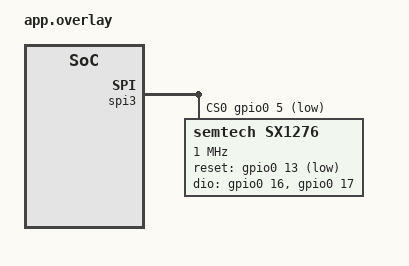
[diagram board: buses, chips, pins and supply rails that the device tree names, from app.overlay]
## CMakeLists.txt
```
# SPDX-License-Identifier: Apache-2.0

cmake_minimum_required(VERSION 3.28.0)

list(APPEND EXTRA_ZEPHYR_MODULES
  ${CMAKE_CURRENT_SOURCE_DIR}/../../modules/libloris/
)

find_package(Zephyr REQUIRED HINTS $ENV{ZEPHYR_BASE})

project(
  loris_lw
  VERSION 1.0
  DESCRIPTION "loris LoRaWAN sample"
  LANGUAGES C
)


target_sources(app PRIVATE src/main.c)
```

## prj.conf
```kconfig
CONFIG_GPIO=y

CONFIG_ZMS=y
CONFIG_FLASH=y
CONFIG_FLASH_MAP=y

CONFIG_LOG=y
CONFIG_LOG_MAX_LEVEL=4
CONFIG_LOG_DEFAULT_LEVEL=3

CONFIG_LORA=y
CONFIG_LORAWAN=y
CONFIG_LORAWAN_SYSTEM_MAX_RX_ERROR=100
CONFIG_LORAWAN_REGION_EU868=y

CONFIG_LORIS=y

CONFIG_MAIN_STACK_SIZE=4096
CONFIG_SYSTEM_WORKQUEUE_STACK_SIZE=4096
```

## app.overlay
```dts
/ {
  aliases {
    lora0 = &sx1276;
  };
};

&spi3 {
  status = "okay";
  cs-gpios = <&gpio0 5 (GPIO_ACTIVE_LOW | GPIO_PULL_UP)>;

  sx1276: lora@0 {
    compatible = "semtech,sx1276";
    reg = <0>;

    reset-gpios = <&gpio0 13 GPIO_ACTIVE_LOW>;

    // order of dio pins matters - idx 0 -> DIO0, idx 1 -> DIO1 and so on
    dio-gpios = <&gpio0 16 (GPIO_PULL_DOWN | GPIO_ACTIVE_HIGH)>,
      <&gpio0 17 (GPIO_PULL_DOWN | GPIO_ACTIVE_HIGH)>;
    spi-max-frequency = <1000000>;
    power-amplifier-output = "pa-boost";
  };
};
```

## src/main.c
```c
/*
 * Copyright (c) 2026 Tomasz Gadziński
 *
 * SPDX-License-Identifier: MIT
 */
#include <zephyr/logging/log.h>
#include <zephyr/lorawan/lorawan.h>

#include "loris/lorawan.h"

#define LORAWAN_DEV_EUI { 0x5b, 0xd1, 0x3f, 0x6a, 0xd9, 0x5e, 0xe2, 0x1c }
#define LORAWAN_JOIN_EUI { 0x52, 0xf1, 0xcc, 0xb8, 0x84, 0xf6, 0xdc, 0x7c }
#define LORAWAN_APP_KEY                                                        \
  { 0xd9, 0xc7, 0xae, 0xd4, 0x2c, 0x8e, 0x86, 0xed,                            \
    0x21, 0x8e, 0x13, 0xf3, 0x3f, 0x86, 0xeb, 0x38 }

LOG_MODULE_REGISTER(lorawan_main_test);

#define DUTYCYCLE_REST_SECONDS 120
#define REJOIN_RETRY_SECONDS 5
#define MSG_TIMER_SECONDS 360

char data[] = "Hello from the loris LoRaWAN test!";

static void dl_callback(
    uint8_t port,
    uint8_t flags,
    int16_t rssi,
    int8_t snr,
    uint8_t len,
    const uint8_t* hex_data
) {
  LOG_INF("Port %d, RSSI %ddB, SNR %ddBm", port, rssi, snr);

  if (flags & LORAWAN_TIME_UPDATED) {
    /* The stack has synced the network time from a DeviceTimeAns. */
    LOG_INF("Network time updated");
  }

  if (flags & LORAWAN_DATA_PENDING) {
    /* The network server has more downlinks queued.  An application
     * that wants to drain them promptly can schedule another uplink
     * (e.g. an empty one on any port) here.
     */
    LOG_INF("Network reports more data pending (FPending set)");
  }

  if (hex_data) {
    LOG_HEXDUMP_INF(hex_data, len, "Payload: ");
  }
}

static void datarate_changed_cb(enum lorawan_datarate dr) {
  uint8_t unused, max_size;

  lorawan_get_payload_sizes(&unused, &max_size);
  LOG_INF("New Datarate: DR_%d, Max Payload %d", dr, max_size);
}

static void link_check_ans_cb(uint8_t demod_margin, uint8_t nb_gateways) {
  LOG_INF("Link check: margin %u dB, %u gateway(s)", demod_margin, nb_gateways);
}

void send_countdown(int countdown_secs) {
  char spinner[] = { '|', '/', '-', '\\' };
  for (int i = 0; i < countdown_secs; i++) {
    size_t idx = i % (sizeof(spinner) / sizeof(spinner[0]));
    printf(
        "[%c] Sending another message in %3i seconds\r",
        spinner[idx],
        countdown_secs - i
    );
    k_sleep(K_SECONDS(1));
  }
}

int main() {
  struct lorawan_downlink_cb dl_cb = { 0 };
  lr_lw_register_downlink_callback(&dl_cb, &dl_callback);
  lr_lw_register_dr_changed_callback(&datarate_changed_cb);
  lr_lw_register_link_check_ans_callback(&link_check_ans_cb);

  uint8_t dev_eui[] = LORAWAN_DEV_EUI;
  uint8_t join_eui[] = LORAWAN_JOIN_EUI;
  uint8_t app_key[] = LORAWAN_APP_KEY;

  lr_lw_join_otaa_config_t cfg = {
    .dev_eui = dev_eui,
    .join_eui = join_eui,
    .app_key = app_key,
    .nwk_key = app_key,
  };

  while (lr_lw_join_otaa(&cfg, LORAWAN_REGION_EU868) != LR_LW_OK) {
    LOG_ERR("Joining LoRaWAN failed. Trying again in %i", REJOIN_RETRY_SECONDS);
    k_sleep(K_SECONDS(REJOIN_RETRY_SECONDS));
  }

  lr_lw_set_adr_mode(false);
  if (lr_lw_set_datarate(LORAWAN_DR_3) != LR_LW_OK) {
    LOG_ERR("Failed to set datarate!");
  }
  lr_lw_set_adr_mode(true);

  while (true) {
    LOG_INF("Sending packet!");
    lr_lw_result_t ret =
        lr_lw_send(1, data, sizeof(data), LORAWAN_MSG_CONFIRMED);

    if (ret == LR_LW_ERR_DUTY_CYCLE_EXCEEDED) {
      LOG_ERR("Sending message failed: duty cycle exceeded!");
      LOG_INF(
          "Will retry after a longer cooldown of %i seconds",
          DUTYCYCLE_REST_SECONDS
      );
      send_countdown(DUTYCYCLE_REST_SECONDS);
    }

    if (ret != LR_LW_OK) {
      LOG_ERR("Sending message failed!");
    }

    LOG_INF("Next message will be sent after %i seconds", MSG_TIMER_SECONDS);
    send_countdown(MSG_TIMER_SECONDS);
  }

  return 0;
}
```
